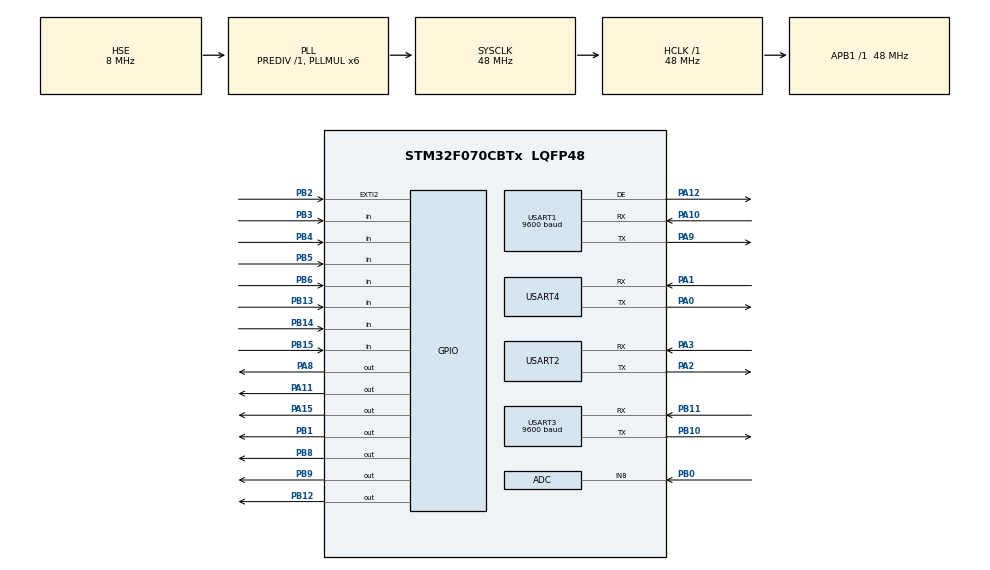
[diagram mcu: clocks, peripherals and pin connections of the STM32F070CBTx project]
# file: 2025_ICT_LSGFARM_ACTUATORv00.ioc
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ADC.ContinuousConvMode=ENABLE
ADC.DMAContinuousRequests=ENABLE
ADC.SamplingTime=ADC_SAMPLETIME_7CYCLES_5
Dma.ADC.0.Direction=DMA_PERIPH_TO_MEMORY
Dma.ADC.0.Instance=DMA1_Channel1
Dma.ADC.0.MemDataAlignment=DMA_MDATAALIGN_WORD
Dma.ADC.0.MemInc=DMA_MINC_ENABLE
Dma.ADC.0.Mode=DMA_CIRCULAR
Dma.ADC.0.PeriphDataAlignment=DMA_PDATAALIGN_WORD
Dma.ADC.0.PeriphInc=DMA_PINC_DISABLE
Dma.ADC.0.Priority=DMA_PRIORITY_LOW
Dma.Request0=ADC
Mcu.Family=STM32F0
Mcu.Name=STM32F070CBTx
Mcu.Package=LQFP48
NVIC.DMA1_Channel1_IRQn=true\:0\:0\:false\:false\:true\:false\:true\:true
NVIC.EXTI2_3_IRQn=true\:0\:0\:false\:false\:true\:true\:true\:true
NVIC.TIM3_IRQn=true\:0\:0\:false\:false\:true\:true\:true\:true
NVIC.TIM6_IRQn=true\:0\:0\:false\:false\:true\:true\:true\:true
NVIC.USART1_IRQn=true\:0\:0\:false\:false\:true\:true\:true\:true
NVIC.USART2_IRQn=true\:0\:0\:false\:false\:true\:true\:true\:true
NVIC.USART3_4_IRQn=true\:0\:0\:false\:false\:true\:true\:true\:true
PA0.Mode=Asynchronous
PA0.Signal=USART4_TX
PA1.Mode=Asynchronous
PA1.Signal=USART4_RX
PA10.Mode=Asynchronous
PA10.Signal=USART1_RX
PA11.PinState=GPIO_PIN_SET
PA11.Signal=GPIO_Output
PA12.Mode=Hardware Flow Control (RS485)
PA12.Signal=USART1_DE
PA13.Mode=Serial_Wire
PA13.Signal=SYS_SWDIO
PA14.Mode=Serial_Wire
PA14.Signal=SYS_SWCLK
PA15.PinState=GPIO_PIN_SET
PA15.Signal=GPIO_Output
PA2.Mode=Asynchronous
PA2.Signal=USART2_TX
PA3.Mode=Asynchronous
PA3.Signal=USART2_RX
PA8.PinState=GPIO_PIN_SET
PA8.Signal=GPIO_Output
PA9.Mode=Asynchronous
PA9.Signal=USART1_TX
PB0.Mode=IN8
PB0.Signal=ADC_IN8
PB1.Signal=GPIO_Output
PB10.Mode=Asynchronous
PB10.Signal=USART3_TX
PB11.Mode=Asynchronous
PB11.Signal=USART3_RX
PB12.Signal=GPIO_Output
PB13.GPIO_PuPd=GPIO_PULLUP
PB13.Signal=GPIO_Input
PB14.GPIO_PuPd=GPIO_PULLUP
PB14.Signal=GPIO_Input
PB15.GPIO_PuPd=GPIO_PULLUP
PB15.Signal=GPIO_Input
PB2.GPIO_PuPd=GPIO_PULLUP
PB2.Signal=GPXTI2
PB3.GPIO_PuPd=GPIO_PULLUP
PB3.Signal=GPIO_Input
PB4.GPIO_PuPd=GPIO_PULLUP
PB4.Signal=GPIO_Input
PB5.GPIO_PuPd=GPIO_PULLUP
PB5.Signal=GPIO_Input
PB6.Signal=GPIO_Input
PB8.Signal=GPIO_Output
PB9.Signal=GPIO_Output
PF0-OSC_IN.Mode=HSE-External-Oscillator
PF0-OSC_IN.Signal=RCC_OSC_IN
PF1-OSC_OUT.Mode=HSE-External-Oscillator
PF1-OSC_OUT.Signal=RCC_OSC_OUT
ProjectManager.HeapSize=0x200
ProjectManager.StackSize=0x400
ProjectManager.TargetToolchain=STM32CubeIDE
RCC.AHBFreq_Value=48000000
RCC.APB1Freq_Value=48000000
RCC.APB1TimFreq_Value=48000000
RCC.HCLKFreq_Value=48000000
RCC.PLLMUL=RCC_PLL_MUL6
RCC.PLLSourceVirtual=RCC_PLLSOURCE_HSE
RCC.SYSCLKFreq_VALUE=48000000
RCC.SYSCLKSource=RCC_SYSCLKSOURCE_PLLCLK
TIM3.Period=1000-1
TIM3.Prescaler=48-1
TIM6.Period=10000-1
TIM6.Prescaler=4800-1
USART1.BaudRate=9600
USART1.VirtualMode-Asynchronous=VM_ASYNC
USART1.VirtualMode-Hardware\ Flow\ Control\ (RS485)=VM_ASYNC
USART2.VirtualMode-Asynchronous=VM_ASYNC
USART3.BaudRate=9600
USART3.VirtualMode-Asynchronous=VM_ASYNC
USART4.VirtualMode-Asynchronous=VM_ASYNC
VP_TIM3_VS_ClockSourceINT.Mode=Internal
VP_TIM6_VS_ClockSourceINT.Mode=Enable_Timer
board=custom

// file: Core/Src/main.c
/*
 *  구동기노드 메인.c
 *  마지막수정일 2024.08. 20  GreenHouseActNode_ICTv3
 *  맥노트북에서 전송됨
 *
 *
 *
 *  */
/**
  ******************************************************************************
  * @file           : main.c
  * @brief          : Main program body
  ******************************************************************************
  * @attention
  *
  * Copyright (c) 2022 STMicroelectronics.
  * All rights reserved.
  *
  * This software is licensed under terms that can be found in the LICENSE file
  * in the root directory of this software component.
  * If no LICENSE file comes with this software, it is provided AS-IS.
  *
  ******************************************************************************
  */
/* USER CODE END Header */
#include "main.h"
#include "adc.h"
#include "dma.h"
#include "tim.h"
#include "usart.h"
#include "gpio.h"

/* USER CODE BEGIN Includes */
#include "define.h"
#include "struct.h"
#include "../../Device/Actuator/Actuator_Process.h"
#include "../../Device/Master/Master_Process.h"
#include "../../Device/EEProm/eeprom.h"
#include "tick_timer.h"
/* USER CODE END Includes */

/* USER CODE BEGIN PV */
UART_RING_BUFFER Master_Ring_Buffer;   // UART1
UART_RING_BUFFER Network_Ring_Buffer;  // UART2
ACT_RING_BUFFER  Actuator_Ring_Buffer;  // UART3
UART_RING_BUFFER Debug_Ring_Buffer;    // UART4
TIME_FLAG		T3Timer;
SEC_TIMER_T 	sec_timer[SEC_MAX_TIMER];
MSEC_TIMER_T 	msec_timer[SEC_MAX_TIMER];

ACTUATOR_INSTALLED			Actuator;
ACTUATOR_OCS_CONTROL 		Actuator_OCS_Control;
ACTUATOR_OCS_EXT_CONTROL 	Actuator_OCS_EXT_Control;

OCSWITCH_CONTROL		OCS_Control[OCS_MAX_COUNT];
ACTUATOR_SW_CONTROL 	Actuator_SW_Control;
SWITCH_CONTROL			SW_Control[SW_MAX_COUNT];

ACTNODE_CONTROL	ActNode;
ADCBAT_INFO 	AdcVDC;

CONFIG_DATA		Default_Config;
CONFIG_DATA		Install_Config;
CONFIG_DATA		Operate_Config;

uint16_t	EPrwData = NODE_CONFIG_NONE;
/* USER CODE END PV */

void SystemClock_Config(void);

/* USER CODE BEGIN 0 */
int _write(int file, char* p, int len)
{
     HAL_UART_Transmit(&huart4, (uint8_t *)p, len, 200);
     return len;
}
/* USER CODE END 0 */

uint16_t Auto_Sw_Check(void)    // 자동 수동 스위치 입력 부분
{
	uint16_t Auto_Sw_Status = 1;
	Auto_Sw_Status = (Auto_SW) ? 3 : 2; // gpioB PIN_2   3:수동 2: 자동
	return Auto_Sw_Status;
}

int main(void)
{

  /* MCU Configuration--------------------------------------------------------*/

  /* Reset of all peripherals, Initializes the Flash interface and the Systick. */
  HAL_Init();

  /* Configure the system clock */
  SystemClock_Config();

  /* Initialize all configured peripherals */
  MX_GPIO_Init();

  MX_TIM3_Init();
  MX_TIM6_Init();

  MX_USART1_UART_Init();
  MX_USART2_UART_Init();
  MX_USART4_UART_Init();
  MX_USART3_UART_Init();

  MX_DMA_Init();
  MX_ADC_Init();

  /* USER CODE BEGIN 2 */
	HAL_UART_Receive_IT(&huart1, &Master_Ring_Buffer.RxData, 1);
	HAL_UART_Receive_IT(&huart2, &Network_Ring_Buffer.RxData, 1);
	HAL_UART_Receive_IT(&huart3, &Actuator_Ring_Buffer.RxData, 1);
	HAL_UART_Receive_IT(&huart4, &Debug_Ring_Buffer.RxData, 1);

	HAL_ADC_Start_DMA(&hadc, AdcVDC.Adc_Buffer, 10);

	Debug_printf("==============================================\r\n");
	Debug_printf( 	"Smart GreenHouse Actuator Node System Start!!!\r\n");
	Debug_printf("==============================================\r\n");

	EPrwData = NODE_CONFIG_NONE;

	E2P_Create();
	EPrwData= E2P_Read_Byte(CONFIG_CHECK_ADDR);
	ActNode.nNodeID = Actuator_Get_NodeID();

	switch(EPrwData)
	{
	  case NODE_CONFIG_NONE :
		  Default_Config.nNode485Baud = DEFAULT_NODE_BAUD;
		  Default_Config.nAct485Baud = DEFAULT_ACTUATOR_BAUD;

		  E2P_Erase();
		  E2P_Default_Config_Save(&Default_Config);
		  E2P_Write_Byte(CONFIG_CHECK_ADDR, DEFAULT_WRITE_OK);

		  memcpy(&Operate_Config, &Default_Config, sizeof(CONFIG_DATA));

		  Debug_printf(" NODE_CONFIG_NONE\r\n");
		  Debug_printf(" %04X %04X\r\n",
				  Operate_Config.nNode485Baud, Operate_Config.nAct485Baud);

		  Master_ActNode_Baud_Change(Operate_Config.nNode485Baud);
		  Master_Actuator_Baud_Change(Operate_Config.nAct485Baud);
		  break;

	  case DEFAULT_WRITE_OK :
		  E2P_Default_Config_Load(&Default_Config);
		  memcpy(&Operate_Config, &Default_Config, sizeof(CONFIG_DATA));

		  Debug_printf(" DEFAULT_WRITE_OK\r\n");
		  Debug_printf(" %04X %04X\r\n",
				  Operate_Config.nNode485Baud, Operate_Config.nAct485Baud);

		  Master_ActNode_Baud_Change(Operate_Config.nNode485Baud);
		  Master_Actuator_Baud_Change(Operate_Config.nAct485Baud);
		  break;

	  case INSTALL_WRITE_OK :
		  E2P_Install_Config_Load(&Install_Config);
		  memcpy(&Operate_Config, &Install_Config, sizeof(CONFIG_DATA));

		  Debug_printf(" INSTALL_WRITE_OK\r\n");
		  Debug_printf(" %04X %04X\r\n",
				  Operate_Config.nNode485Baud, Operate_Config.nAct485Baud);

		  Master_ActNode_Baud_Change(Operate_Config.nNode485Baud);
		  Master_Actuator_Baud_Change(Operate_Config.nAct485Baud);
		  break;
	}

	Master_NodeData_Initialize();
	Actuator_Install_Initialize();

	if (HAL_TIM_Base_Start_IT(&htim3) != HAL_OK)
	{
	  Error_Handler();
	}

	if (HAL_TIM_Base_Start_IT(&htim6) != HAL_OK)
	{
	  Error_Handler();
	}

	NETWORK_POWER_ON;
	Debug_printf(" ActNode.nNodeID = %04X\r\n" ,ActNode.nNodeID);
	Debug_printf(" NodeVersion=%d (2=16CH, 3=32CH)\r\n", NodeVersion);

	Actuator_OCS_Control.Step = OCS_RELAY_STEP_IDLE;
	Actuator_OCS_EXT_Control.Step = OCS_EXT_RELAY_STEP_IDLE;
	Actuator_SW_Control.Step = SW_RELAY_STEP_IDLE;

  /* USER CODE END 2 */

  /* Infinite loop */
  /* USER CODE BEGIN WHILE */
//	int a = 1;

	while (1)
	{
		/* USER CODE END WHILE */

		/* USER CODE BEGIN 3 */
		Master_Buffer_Process();
		Actuator_Buffer_Process();

		ActNode.NodeReg[CON_ACTNODE_CMD_ADDR] = Auto_Sw_Check(); // add by jins  501번지에 1,2,3 중 하나

		Actuator_OCS_Relay_Control_Proecess();
		if(NodeVersion == RELAY_16CH_VER)
		{
			Actuator_OCS_EXT_Relay_Control_Proecess();
		}
		Actuator_SW_Relay_Control_Proecess();

//		if(a >= 50000)
//		{
//			ActuatorNode_NetworkSend_Process(0x00);
//			a = 1;
//		}
//		else
//		{
//			a++;
//		}
	}
	/* USER CODE END 3 */
}

void SystemClock_Config(void)
{
	RCC_OscInitTypeDef RCC_OscInitStruct = {0};
	RCC_ClkInitTypeDef RCC_ClkInitStruct = {0};
	RCC_PeriphCLKInitTypeDef PeriphClkInit = {0};

	/** Initializes the RCC Oscillators according to the specified parameters
	* in the RCC_OscInitTypeDef structure.
	*/
	RCC_OscInitStruct.OscillatorType = RCC_OSCILLATORTYPE_HSI14|RCC_OSCILLATORTYPE_HSE;
	RCC_OscInitStruct.HSEState = RCC_HSE_ON;
	RCC_OscInitStruct.HSI14State = RCC_HSI14_ON;
	RCC_OscInitStruct.HSI14CalibrationValue = 16;
	RCC_OscInitStruct.PLL.PLLState = RCC_PLL_ON;
	RCC_OscInitStruct.PLL.PLLSource = RCC_PLLSOURCE_HSE;
	RCC_OscInitStruct.PLL.PLLMUL = RCC_PLL_MUL6;
	RCC_OscInitStruct.PLL.PREDIV = RCC_PREDIV_DIV1;
	if (HAL_RCC_OscConfig(&RCC_OscInitStruct) != HAL_OK)
	{
	Error_Handler();
	}

	/** Initializes the CPU, AHB and APB buses clocks
	*/
	RCC_ClkInitStruct.ClockType = RCC_CLOCKTYPE_HCLK|RCC_CLOCKTYPE_SYSCLK
							  |RCC_CLOCKTYPE_PCLK1;
	RCC_ClkInitStruct.SYSCLKSource = RCC_SYSCLKSOURCE_PLLCLK;
	RCC_ClkInitStruct.AHBCLKDivider = RCC_SYSCLK_DIV1;
	RCC_ClkInitStruct.APB1CLKDivider = RCC_HCLK_DIV1;

	if (HAL_RCC_ClockConfig(&RCC_ClkInitStruct, FLASH_LATENCY_1) != HAL_OK)
	{
	Error_Handler();
	}

	PeriphClkInit.PeriphClockSelection = RCC_PERIPHCLK_USART1;
	PeriphClkInit.Usart1ClockSelection = RCC_USART1CLKSOURCE_PCLK1;

	if (HAL_RCCEx_PeriphCLKConfig(&PeriphClkInit) != HAL_OK)
	{
		Error_Handler();
	}
}

/* USER CODE BEGIN 4 */
char str[20] = "Test 485 Line\n";

void HAL_GPIO_EXTI_Callback(uint16_t GPIO_Pin)
{
  if(GPIO_Pin == GPIO_PIN_2)
  {
	  Debug_printf(" Button Press\n");
//	  ActNode.NodeReg[ACTNODE_STATUS_ADDR] =  4;
  }
}

void HAL_TIM_PeriodElapsedCallback(TIM_HandleTypeDef *htim)
{
	if (htim->Instance == TIM3)                        	// 1msec
	{
		T3Timer.nTCount_1ms++;

		if(T3Timer.nTCount_1ms % 500 == 0)
		{
			HAL_GPIO_TogglePin(GPIOA, GPIO_PIN_15);
		}

		Master_1ms_Process();
		Actuator_1ms_Process();
	}
	else if (htim->Instance == TIM6)                    // 1sec
	{
		if( ActNode.nNodeID != Actuator_Get_NodeID() ) {
			ActNode.nNodeID = Actuator_Get_NodeID();

			NVIC_SystemReset();
		}

		sec_timer_inc_tick();
		Master_Actuator_OnTime_Process();
	}
}

void HAL_UART_RxCpltCallback(UART_HandleTypeDef *huart)
{
    if (huart->Instance == huart1.Instance)
    {
    	HAL_UART_Receive_IT(&huart1, &Master_Ring_Buffer.RxData, 1);
    	Master_RS485_Push_Data(Master_Ring_Buffer.RxData);

    	ActNode.nRxEndTime = RX_END_TIME;
    }
    else if (huart->Instance == huart2.Instance)
    {
    	HAL_UART_Receive_IT(&huart2, &Network_Ring_Buffer.RxData, 1);
    }
    else if (huart->Instance == huart3.Instance)
    {

    	HAL_UART_Receive_IT(&huart3, &Actuator_Ring_Buffer.RxData, 1);
    	Actuator_RS485_Push_Data(Actuator_Ring_Buffer.RxData);
    }
    else if (huart->Instance == huart4.Instance)
    {
    	HAL_UART_Receive_IT(&huart4, &Debug_Ring_Buffer.RxData, 1);
    }
}
/* USER CODE END 4 */

void Error_Handler(void)
{
  __disable_irq();
  while (1)
  {
  }
}
